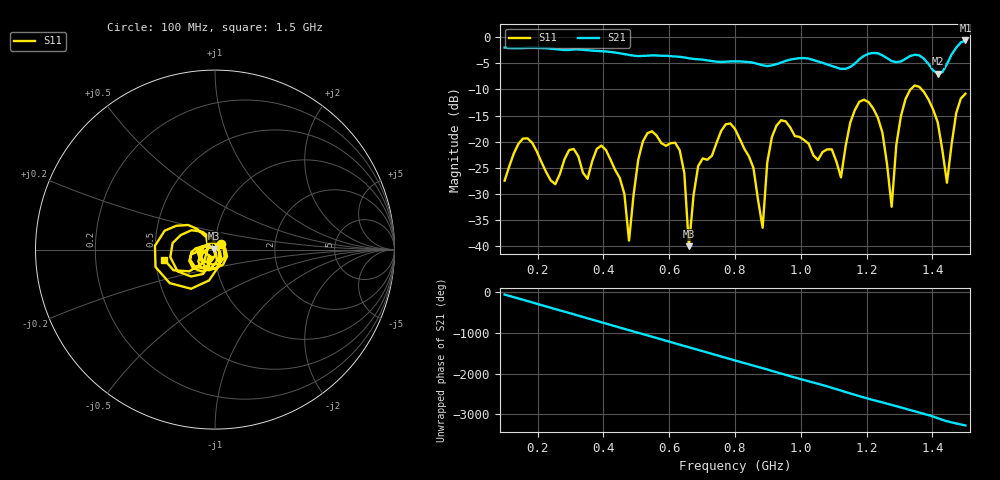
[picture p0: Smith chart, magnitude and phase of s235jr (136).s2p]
! NanoVNA-App
! Date: 2025-09-25 15:05:13
! Start: 100MHz Stop: 1,5GHz Points: 101
! S-Parameter data: F S11 S21 S12 S22
# Hz S RI R 50
!  Frequency  S11_Real  S11_Imag  S21_Real  S21_Imag  S12_Real  S12_Imag  S22_Real  S22_Imag
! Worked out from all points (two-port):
!   101 points, 100 MHz to 1.5 GHz, reference 50 ohm
!   highest |S21| = -0.59 dB at 1.5 GHz (marker M1); lowest = -6.9 dB at 1.416 GHz (marker M2)
!   |S21| within 3 dB of the highest: start of sweep to 600.6 MHz; 1.191 GHz to 1.252 GHz (60.93 MHz wide, 4.99 % of centre) (the widest 2 of 4)
!   lowest |S11| = -40.1 dB at 660 MHz (marker M3), VSWR 1.02, Z = 49.2 + j0.599 ohm
!   |S11| at or under -10 dB: start of sweep to 1.333 GHz; 1.367 GHz to end of sweep
!   S12 and S22 are empty: the file has one direction only
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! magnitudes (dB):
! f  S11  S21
! 100 MHz  -27.5  -2.0
! 156 MHz  -19.4  -2.0
! 338 MHz  -26.0  -2.4
! 408 MHz  -21.6  -2.7
! 478 MHz  -39.0  -3.4
! 520 MHz  -20.0  -3.6
! 576 MHz  -20.3  -3.5
! 632 MHz  -21.7  -3.7
! 660 MHz  -40.1  -4.0
! 688 MHz  -24.7  -4.2
! 800 MHz  -17.6  -4.6
! 884 MHz  -36.5  -5.3
! 926 MHz  -16.9  -5.1
! 1.038 GHz  -22.6  -4.3
! 1.122 GHz  -26.9  -6.1
! 1.206 GHz  -12.4  -3.1
! 1.276 GHz  -32.5  -4.5
! 1.29 GHz  -20.7  -4.7
! 1.332 GHz  -10.1  -3.6
! 1.416 GHz  -16.3  -6.9
! 1.444 GHz  -27.9  -5.1
! 1.5 GHz  -10.8  -0.6
